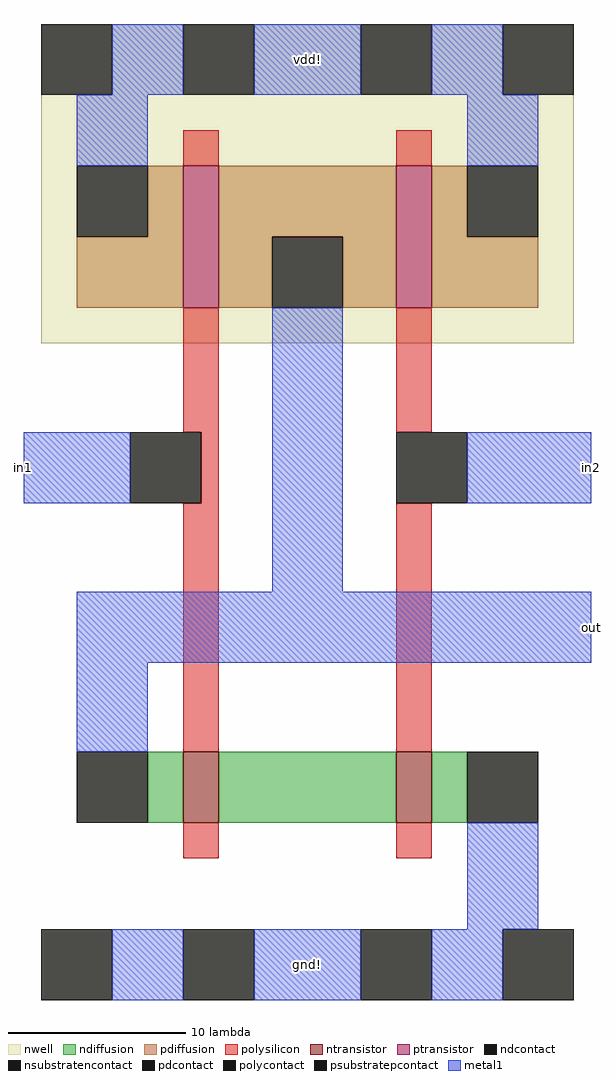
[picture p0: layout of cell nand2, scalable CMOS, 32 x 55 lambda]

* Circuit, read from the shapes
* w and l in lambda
.subckt nand2 gnd! in1 in2 out vdd!
M1 n1 in1 out gnd! nfet w=4 l=2
M2 gnd! in2 n1 gnd! nfet w=4 l=2
M3 out in1 vdd! vdd! pfet w=8 l=2
M4 vdd! in2 out vdd! pfet w=8 l=2
.ends

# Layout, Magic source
magic
tech scmos
<< nwell >>
rect -6 -1 24 17
<< polysilicon >>
rect 2 9 4 11
rect 14 9 16 11
rect 2 -6 4 1
rect 3 -10 4 -6
rect 2 -24 4 -10
rect 14 -6 16 1
rect 14 -24 16 -10
rect 2 -30 4 -28
rect 14 -30 16 -28
<< ndiffusion >>
rect 0 -28 2 -24
rect 4 -28 14 -24
rect 16 -28 18 -24
<< pdiffusion >>
rect 0 5 2 9
rect -4 1 2 5
rect 4 5 14 9
rect 4 1 7 5
rect 11 1 14 5
rect 16 5 18 9
rect 16 1 22 5
<< metal1 >>
rect -2 13 2 17
rect 6 13 12 17
rect 16 13 20 17
rect -4 9 0 13
rect 18 9 22 13
rect -7 -10 -1 -6
rect 7 -15 11 1
rect 18 -10 25 -6
rect -4 -19 25 -15
rect -4 -24 0 -19
rect 18 -34 22 -28
rect -2 -38 2 -34
rect 6 -38 12 -34
rect 16 -38 20 -34
<< ntransistor >>
rect 2 -28 4 -24
rect 14 -28 16 -24
<< ptransistor >>
rect 2 1 4 9
rect 14 1 16 9
<< polycontact >>
rect -1 -10 3 -6
rect 14 -10 18 -6
<< ndcontact >>
rect -4 -28 0 -24
rect 18 -28 22 -24
<< pdcontact >>
rect -4 5 0 9
rect 7 1 11 5
rect 18 5 22 9
<< psubstratepcontact >>
rect -6 -38 -2 -34
rect 2 -38 6 -34
rect 12 -38 16 -34
rect 20 -38 24 -34
<< nsubstratencontact >>
rect -6 13 -2 17
rect 2 13 6 17
rect 12 13 16 17
rect 20 13 24 17
<< labels >>
rlabel metal1 9 -36 9 -36 1 gnd!
rlabel metal1 9 15 9 15 5 vdd!
rlabel metal1 -7 -10 -7 -6 3 in1
rlabel metal1 25 -10 25 -6 7 in2
rlabel metal1 25 -19 25 -15 7 out
<< end >>
